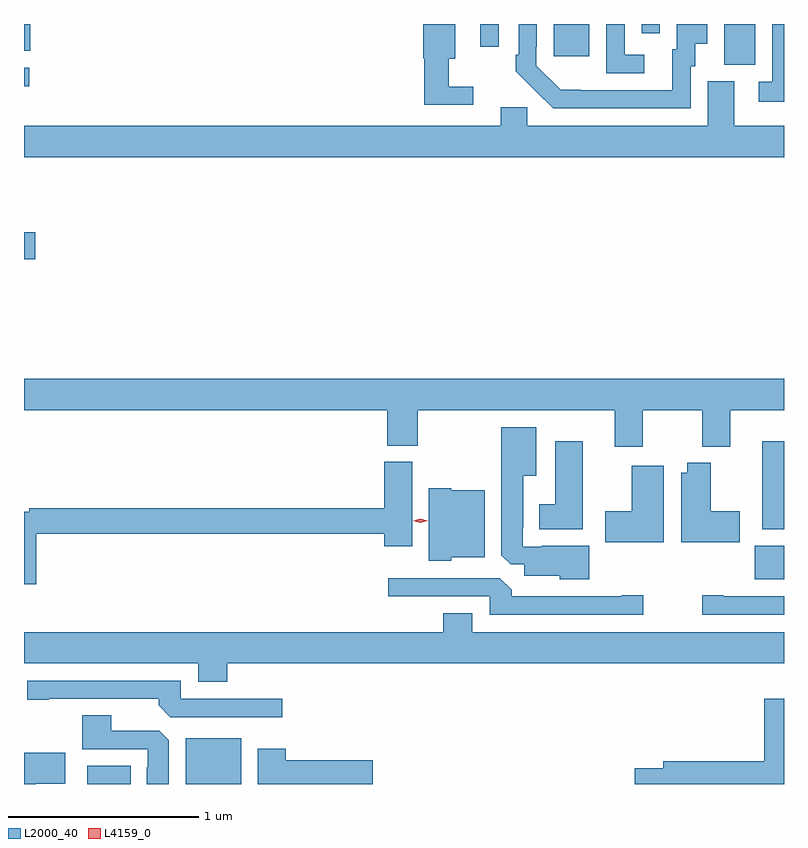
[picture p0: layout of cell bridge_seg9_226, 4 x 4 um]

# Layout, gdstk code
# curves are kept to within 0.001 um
import gdstk
lib = gdstk.Library(unit=1e-6, precision=1e-09)
def R(c, l, rs):  # rectangles x0, y0, x1, y1
    for r in rs: c.add(gdstk.rectangle(r[:2], r[2:], *l))
def P(c, l, *ps):  # polygons
    for p in ps: c.add(gdstk.Polygon(p, *l))
L2000_40 = (2000, 40)
L4159_0 = (4159, 0)

bridge_seg9_226 = lib.new_cell('bridge_seg9_226')
R(bridge_seg9_226, L2000_40, [(146.915,1213.1,147.142,1213.195), (147.431,1213.1,147.724,1213.342), (150.428,1214.177,150.581,1214.353), (150.467,1214.441,150.581,1214.905), (146.581,1215.863,146.641,1216.005), (146.581,1216.773,146.608,1216.869), (150.266,1216.885,150.43,1217.1), (149.369,1216.929,149.557,1217.1), (146.581,1216.958,146.614,1217.1), (148.983,1216.98,149.079,1217.1), (149.832,1217.052,149.928,1217.1)])
P(bridge_seg9_226, L2000_40, [(148.945,1216.771),(148.816,1216.771),(148.816,1216.916),(148.852,1216.916),(148.852,1217.1),(148.682,1217.1),(148.682,1216.92),(148.687,1216.92),(148.687,1216.674),(148.945,1216.674)],
  [(149.845,1216.938),(149.742,1216.938),(149.742,1217.1),(149.646,1217.1),(149.646,1216.842),(149.845,1216.842)],
  [(150.09,1216.878),(150.115,1216.878),(150.115,1216.997),(150.178,1216.997),(150.178,1217.1),(150.017,1217.1),(150.017,1216.968),(149.993,1216.968),(149.993,1216.752),(149.406,1216.753),(149.277,1216.881),(149.277,1216.981),(149.28,1216.981),(149.28,1217.1),(149.184,1217.1),(149.184,1216.939),(149.169,1216.939),(149.169,1216.851),(149.366,1216.656),(150.09,1216.656)],
  [(150.581,1217.1),(150.519,1217.1),(150.519,1216.797),(150.447,1216.797),(150.447,1216.692),(150.581,1216.692)],
  [(150.179,1216.8),(150.179,1216.564),(149.229,1216.564),(149.229,1216.662),(149.09,1216.662),(149.09,1216.564),(146.581,1216.564),(146.581,1216.4),(150.581,1216.4),(150.581,1216.564),(150.319,1216.564),(150.319,1216.8)],
  [(149.838,1215.068),(150.151,1215.068),(150.151,1214.876),(150.298,1214.876),(150.298,1215.068),(150.581,1215.068),(150.581,1215.232),(146.581,1215.232),(146.581,1215.068),(148.493,1215.068),(148.493,1214.881),(148.653,1214.881),(148.653,1215.068),(149.69,1215.068),(149.69,1214.874),(149.838,1214.874)],
  [(149.557,1214.353),(149.305,1214.353),(149.305,1214.349),(149.205,1214.349),(149.205,1214.449),(149.209,1214.449),(149.209,1214.723),(149.278,1214.723),(149.278,1214.977),(149.093,1214.977),(149.093,1214.305),(149.142,1214.256),(149.213,1214.256),(149.213,1214.195),(149.4,1214.195),(149.4,1214.177),(149.557,1214.177)],
  [(149.521,1214.905),(149.378,1214.905),(149.378,1214.572),(149.294,1214.572),(149.294,1214.441),(149.521,1214.441)],
  [(146.645,1214.416),(148.478,1214.416),(148.478,1214.352),(148.624,1214.352),(148.624,1214.796),(148.478,1214.796),(148.478,1214.552),(146.608,1214.552),(146.608,1214.532),(146.581,1214.532),(146.581,1214.151),(146.645,1214.151)],
  [(150.349,1214.535),(150.196,1214.535),(150.196,1214.791),(150.071,1214.791),(150.071,1214.737),(150.041,1214.737),(150.041,1214.372),(150.349,1214.372)],
  [(149.947,1214.776),(149.78,1214.776),(149.78,1214.535),(149.64,1214.535),(149.64,1214.372),(149.947,1214.372)],
  [(148.83,1214.294),(149.005,1214.294),(149.005,1214.647),(148.83,1214.647),(148.83,1214.656),(148.712,1214.656),(148.712,1214.276),(148.83,1214.276)],
  [(149.839,1214.093),(149.726,1214.093),(149.726,1214.088),(149.147,1214.088),(149.147,1214.122),(149.085,1214.184),(148.497,1214.184),(148.497,1214.088),(149.031,1214.088),(149.031,1213.992),(149.839,1213.992)],
  [(150.581,1214.088),(150.262,1214.088),(150.262,1214.093),(150.15,1214.093),(150.15,1213.992),(150.581,1213.992)],
  [(147.65,1213.736),(150.581,1213.736),(150.581,1213.9),(148.939,1213.9),(148.939,1213.999),(148.787,1213.999),(148.787,1213.9),(146.581,1213.9),(146.581,1213.736),(147.497,1213.736),(147.497,1213.637),(147.65,1213.637)],
  [(147.94,1213.548),(147.405,1213.548),(147.405,1213.644),(146.598,1213.644),(146.598,1213.543),(146.71,1213.543),(146.71,1213.548),(147.29,1213.548),(147.29,1213.514),(147.351,1213.452),(147.94,1213.452)],
  [(150.581,1213.549),(150.476,1213.549),(150.476,1213.22),(149.945,1213.22),(149.945,1213.184),(149.796,1213.184),(149.796,1213.1),(150.581,1213.1)],
  [(147.343,1213.331),(147.294,1213.38),(147.04,1213.38),(147.04,1213.463),(146.888,1213.463),(146.888,1213.284),(147.231,1213.284),(147.231,1213.187),(147.227,1213.187),(147.227,1213.1),(147.343,1213.1)],
  [(148.417,1213.226),(147.959,1213.226),(147.959,1213.285),(147.812,1213.285),(147.812,1213.1),(148.417,1213.1)],
  [(146.644,1213.102),(146.797,1213.102),(146.797,1213.264),(146.581,1213.264),(146.581,1213.1),(146.644,1213.1)])
P(bridge_seg9_226, L4159_0, [(148.667,1214.476),(148.629,1214.486),(148.629,1214.486),(148.629,1214.486),(148.667,1214.496),(148.705,1214.486),(148.705,1214.486),(148.705,1214.486)])

lib.write_gds('bridge_seg9_226.gds')
